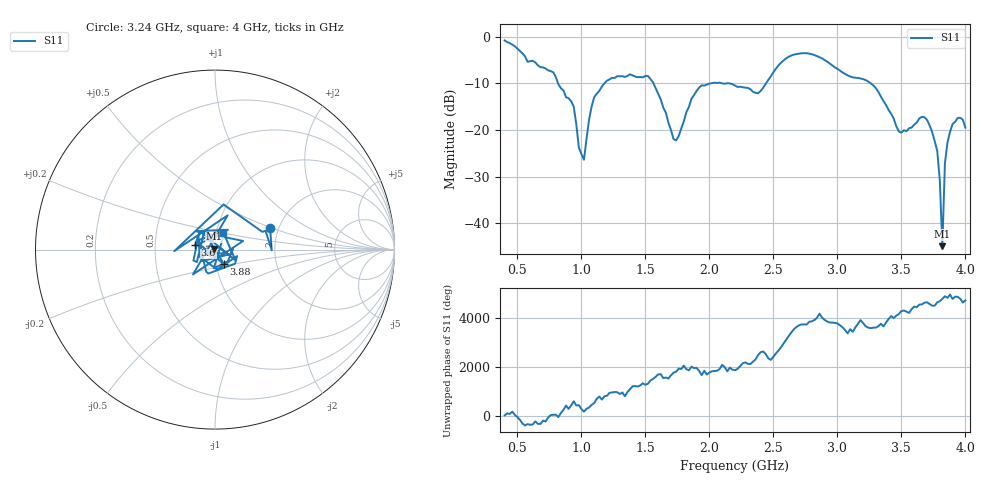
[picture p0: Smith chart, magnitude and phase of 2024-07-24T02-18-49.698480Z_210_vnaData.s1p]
!Created with skrf (http://scikit-rf.org).
# Hz S RI R 50.0
!freq ReS11 ImS11
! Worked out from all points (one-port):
!   181 points, 400 MHz to 4 GHz, reference 50 ohm
!   lowest |S11| = -44.9 dB at 3.82 GHz (marker M1), VSWR 1.01, Z = 49.7 + j0.472 ohm
!   |S11| at or under -10 dB: 817.3 MHz to 1.18 GHz (363 MHz wide, 36.3 % of centre); 1.563 GHz to 2.014 GHz (451 MHz wide, 25.2 % of centre); 3.26 GHz to end of sweep (the widest 3 of 5)
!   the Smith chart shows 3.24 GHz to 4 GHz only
!   S11 on the Smith chart (normalised r, x): 3.24 GHz: 1.80, +0.50; 3.6 GHz: 0.80, +0.04; 3.88 GHz: 1.09, -0.18; 4 GHz: 1.08, +0.21
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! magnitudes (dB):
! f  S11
! 400 MHz  -0.8
! 780 MHz  -7.7
! 860 MHz  -11.5
! 940 MHz  -15.0
! 980 MHz  -23.7
! 1.02 GHz  -26.4
! 1.1 GHz  -13.0
! 1.3 GHz  -8.5
! 1.52 GHz  -8.4
! 1.72 GHz  -22.0
! 1.76 GHz  -21.3
! 1.92 GHz  -10.9
! 2.2 GHz  -10.5
! 2.38 GHz  -12.2
! 2.66 GHz  -3.9
! 3.1 GHz  -8.5
! 3.24 GHz  -9.6
! 3.48 GHz  -20.3
! 3.56 GHz  -19.6
! 3.6 GHz  -18.9
! 3.7 GHz  -17.8
! 3.78 GHz  -24.5
! 3.8 GHz  -30.7
! 3.82 GHz  -44.9
! 3.84 GHz  -27.1
! 3.88 GHz  -20.4
! 3.94 GHz  -17.4
! 4 GHz  -19.5
